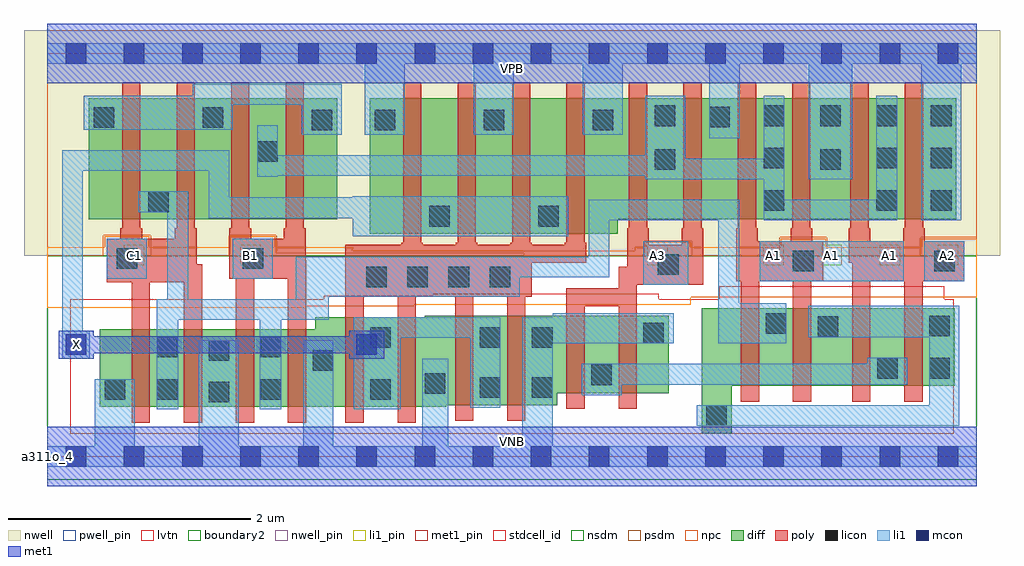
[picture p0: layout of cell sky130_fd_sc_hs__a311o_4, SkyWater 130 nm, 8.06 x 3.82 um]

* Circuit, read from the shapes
.subckt sky130_fd_sc_hs__a311o_4 A1 A2 A3 B1 C1 VGND VNB VPB VPWR X
XM1 n1 C1 VGND VNB sky130_fd_pr__nfet_01v8_lvt w=0.64 l=0.15 m=2
XM2 n1 B1 VGND VNB sky130_fd_pr__nfet_01v8_lvt w=0.64 l=0.15 m=2
XM3 X n1 VGND VNB sky130_fd_pr__nfet_01v8_lvt w=0.74 l=0.15 m=4
XM4 n2 A3 VGND VNB sky130_fd_pr__nfet_01v8_lvt w=0.64 l=0.15 m=2
XM5 n1 A1 n3 VNB sky130_fd_pr__nfet_01v8_lvt w=0.64 l=0.15 m=2
XM6 n2 A2 n3 VNB sky130_fd_pr__nfet_01v8_lvt w=0.64 l=0.15 m=2
XM7 n1 C1 n4 VPB sky130_fd_pr__pfet_01v8 w=1 l=0.15 m=2
XM8 n5 B1 n4 VPB sky130_fd_pr__pfet_01v8 w=1 l=0.15 m=2
XM9 X n1 VPWR VPB sky130_fd_pr__pfet_01v8 w=1.12 l=0.15 m=4
XM10 n5 A3 VPWR VPB sky130_fd_pr__pfet_01v8 w=1 l=0.15 m=2
XM11 n5 A1 VPWR VPB sky130_fd_pr__pfet_01v8 w=1 l=0.15 m=2
XM12 n5 A2 VPWR VPB sky130_fd_pr__pfet_01v8 w=1 l=0.15 m=2
.ends

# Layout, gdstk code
import gdstk
lib = gdstk.Library(unit=1e-6, precision=1e-09)
def R(c, l, rs):  # rectangles x0, y0, x1, y1
    for r in rs: c.add(gdstk.rectangle(r[:2], r[2:], *l))
def A(c, l, x, y, w, h, nx, ny, dx, dy):  # array of equal rectangles
    R(c, l, [(x+i*dx, y+j*dy, x+i*dx+w, y+j*dy+h) for i in range(nx) for j in range(ny)])
def P(c, l, *ps):  # polygons
    for p in ps: c.add(gdstk.Polygon(p, *l))
nwell_pin = (64, 16)
nwell = (64, 20)
diff = (65, 20)
poly = (66, 20)
licon = (66, 44)
li1_pin = (67, 16)
li1 = (67, 20)
mcon = (67, 44)
met1_pin = (68, 16)
met1 = (68, 20)
stdcell_id = (81, 4)
nsdm = (93, 44)
psdm = (94, 20)
npc = (95, 20)
pwell_pin = (122, 16)
lvtn = (125, 44)
boundary2 = (236, 0)

sky130_fd_sc_hs__a311o_4 = lib.new_cell('sky130_fd_sc_hs__a311o_4')
R(sky130_fd_sc_hs__a311o_4, nwell_pin, [(0,3.085,7.68,3.33)])
R(sky130_fd_sc_hs__a311o_4, nwell, [(-0.19,1.66,7.87,3.52)])
R(sky130_fd_sc_hs__a311o_4, diff, [(0.345,1.96,2.395,2.96)])
P(sky130_fd_sc_hs__a311o_4, diff, [(5.135,1.165),(3.12,1.165),(3.12,1.15),(2.215,1.15),(2.215,1.05),(0.435,1.05),(0.435,0.41),(3.295,0.41),(3.295,0.425),(4.215,0.425),(4.215,0.525),(5.135,0.525)],
  [(7.495,1.225),(5.405,1.225),(5.405,0.195),(5.655,0.195),(5.655,0.585),(7.495,0.585)],
  [(7.51,2.96),(2.665,2.96),(2.665,1.84),(4.715,1.84),(4.715,1.96),(7.51,1.96)])
P(sky130_fd_sc_hs__a311o_4, poly, [(1.28,1.59),(1.235,1.59),(1.235,1.885),(1.22,1.885),(1.22,3.09),(1.07,3.09),(1.07,1.885),(1.055,1.885),(1.055,1.8),(0.785,1.8),(0.785,1.885),(0.77,1.885),(0.77,3.09),(0.62,3.09),(0.62,1.885),(0.605,1.885),(0.605,1.8),(0.495,1.8),(0.495,1.44),(0.7,1.44),(0.7,0.28),(0.85,0.28),(0.85,1.44),(1.13,1.44),(1.13,0.28),(1.28,0.28)],
  [(2.14,1.62),(2.135,1.62),(2.135,1.885),(2.12,1.885),(2.12,3.09),(1.97,3.09),(1.97,1.885),(1.955,1.885),(1.955,1.8),(1.685,1.8),(1.685,1.885),(1.67,1.885),(1.67,3.09),(1.52,3.09),(1.52,1.885),(1.505,1.885),(1.505,1.47),(1.56,1.47),(1.56,0.28),(1.71,0.28),(1.71,1.47),(1.99,1.47),(1.99,0.28),(2.14,0.28)],
  [(4.455,1.765),(4.44,1.765),(4.44,3.09),(4.29,3.09),(4.29,1.765),(4.275,1.765),(4.275,1.75),(4.005,1.75),(4.005,1.765),(3.99,1.765),(3.99,3.09),(3.84,3.09),(3.84,1.765),(3.825,1.765),(3.825,1.75),(3.555,1.75),(3.555,1.765),(3.54,1.765),(3.54,3.09),(3.39,3.09),(3.39,1.765),(3.375,1.765),(3.375,1.75),(3.105,1.75),(3.105,1.765),(3.09,1.765),(3.09,3.09),(2.94,3.09),(2.94,1.765),(2.925,1.765),(2.925,1.75),(2.465,1.75),(2.465,0.28),(2.615,0.28),(2.615,1.32),(2.895,1.32),(2.895,0.28),(3.045,0.28),(3.045,1.32),(3.37,1.32),(3.37,0.295),(3.52,0.295),(3.52,1.32),(3.8,1.32),(3.8,0.295),(3.95,0.295),(3.95,1.32),(4.005,1.32),(4.005,1.6),(4.455,1.6)],
  [(5.42,1.885),(5.405,1.885),(5.405,3.09),(5.255,3.09),(5.255,1.885),(5.24,1.885),(5.24,1.75),(4.97,1.75),(4.97,1.885),(4.955,1.885),(4.955,3.09),(4.805,3.09),(4.805,1.885),(4.79,1.885),(4.79,1.57),(4.72,1.57),(4.72,1.39),(4.29,1.39),(4.29,0.395),(4.44,0.395),(4.44,1.24),(4.72,1.24),(4.72,0.395),(4.87,0.395),(4.87,1.42),(5.42,1.42)],
  [(7.575,1.78),(7.25,1.78),(7.25,1.885),(7.235,1.885),(7.235,3.09),(7.085,3.09),(7.085,1.885),(7.07,1.885),(7.07,1.78),(6.8,1.78),(6.8,1.885),(6.785,1.885),(6.785,3.09),(6.635,3.09),(6.635,1.885),(6.62,1.885),(6.62,1.6),(6.65,1.6),(6.65,0.455),(6.8,0.455),(6.8,1.45),(7.08,1.45),(7.08,0.455),(7.23,0.455),(7.23,1.45),(7.575,1.45)],
  [(6.41,1.78),(6.32,1.78),(6.32,1.885),(6.305,1.885),(6.305,3.09),(6.155,3.09),(6.155,1.885),(6.14,1.885),(6.14,1.78),(5.87,1.78),(5.87,1.885),(5.855,1.885),(5.855,3.09),(5.705,3.09),(5.705,1.885),(5.69,1.885),(5.69,1.45),(5.73,1.45),(5.73,0.455),(5.88,0.455),(5.88,1.45),(6.16,1.45),(6.16,0.455),(6.31,0.455),(6.31,1.45),(6.41,1.45)])
A(sky130_fd_sc_hs__a311o_4, licon, 2.635, 1.4, 0.17, 0.17, 4, 1, 0.34, 0)
A(sky130_fd_sc_hs__a311o_4, licon, 7.3, 2.03, 0.17, 0.17, 1, 3, 0, 0.35)
A(sky130_fd_sc_hs__a311o_4, licon, 2.705, 2.695, 0.17, 0.17, 3, 1, 0.9, 0)
A(sky130_fd_sc_hs__a311o_4, licon, 5.92, 2.73, 0.17, 0.17, 3, 1, 0.465, 0)
R(sky130_fd_sc_hs__a311o_4, licon, [(5.445,0.255,5.615,0.425), (1.335,0.45,1.505,0.62), (0.475,0.47,0.645,0.64), (0.905,0.47,1.075,0.64), (1.765,0.47,1.935,0.64), (2.67,0.47,2.84,0.64), (3.575,0.485,3.745,0.655), (4.005,0.485,4.175,0.655), (3.12,0.52,3.29,0.69), (4.495,0.59,4.665,0.76), (6.855,0.645,7.025,0.815), (7.285,0.645,7.455,0.815), (2.195,0.71,2.365,0.88), (1.335,0.79,1.505,0.96), (0.905,0.82,1.075,0.99), (1.765,0.82,1.935,0.99), (2.67,0.9,2.84,1.07), (3.575,0.9,3.745,1.07), (4.005,0.9,4.175,1.07), (4.925,0.935,5.095,1.105), (6.365,0.99,6.535,1.16), (7.285,0.995,7.455,1.165), (5.935,1.015,6.105,1.185), (5.045,1.5,5.215,1.67), (6.16,1.53,6.33,1.7), (7.325,1.53,7.495,1.7), (0.575,1.55,0.745,1.72), (1.615,1.55,1.785,1.72), (3.155,1.9,3.325,2.07), (4.055,1.9,4.225,2.07), (0.835,2.02,1.005,2.19), (5.92,2.03,6.09,2.2), (6.85,2.03,7.02,2.2), (5.02,2.37,5.19,2.54), (6.385,2.37,6.555,2.54), (5.92,2.38,6.09,2.55), (6.85,2.38,7.02,2.55), (1.735,2.435,1.905,2.605), (2.185,2.695,2.355,2.865), (0.385,2.715,0.555,2.885), (1.285,2.715,1.455,2.885), (5.47,2.72,5.64,2.89), (5.02,2.73,5.19,2.9)])
A(sky130_fd_sc_hs__a311o_4, li1_pin, 5.915, 1.58, 0.17, 0.17, 4, 1, 0.48, 0)
R(sky130_fd_sc_hs__a311o_4, li1_pin, [(0.635,1.58,0.805,1.75), (1.595,1.58,1.765,1.75), (4.955,1.58,5.125,1.75)])
R(sky130_fd_sc_hs__a311o_4, li1, [(4.925,1.42,5.295,1.78), (5.885,1.45,7.075,1.78), (7.245,1.45,7.575,1.78), (0.495,1.47,0.825,1.8), (1.535,1.47,1.865,1.8)])
P(sky130_fd_sc_hs__a311o_4, li1, [(7.22,1.95),(7.22,3.245),(6.65,3.245),(6.65,2.29),(6.29,2.29),(6.29,3.245),(5.72,3.245),(5.72,2.63),(5.47,2.63),(5.47,3.245),(4.755,3.245),(4.755,2.66),(4.425,2.66),(4.425,3.245),(3.855,3.245),(3.855,2.66),(3.525,2.66),(3.525,3.245),(2.955,3.245),(2.955,2.66),(2.625,2.66),(2.625,3.245),(0,3.245),(0,3.415),(7.68,3.415),(7.68,3.245),(7.55,3.245),(7.55,1.95)],
  [(3.925,0.085),(3.925,1.15),(4.175,1.15),(4.175,1.185),(5.175,1.185),(5.175,0.935),(4.175,0.935),(4.175,0.085),(7.68,0.085),(7.68,-0.085),(0,-0.085),(0,0.085),(0.395,0.085),(0.395,0.64),(0.725,0.64),(0.725,0.085),(1.255,0.085),(1.255,0.96),(1.585,0.96),(1.585,0.085),(2.115,0.085),(2.115,0.96),(2.365,0.96),(2.365,0.085),(3.1,0.085),(3.1,0.81),(3.315,0.81),(3.315,0.085)],
  [(1.505,2.53),(1.505,2.14),(2.525,2.14),(2.525,2.15),(4.305,2.15),(4.305,1.82),(2.525,1.82),(2.525,1.97),(1.335,1.97),(1.335,2.36),(0.295,2.36),(0.295,1.04),(0.355,1.04),(0.355,0.81),(0.125,0.81),(0.125,2.53)],
  [(1.755,1.13),(1.085,1.13),(1.085,0.39),(0.905,0.39),(0.905,1.3),(0.995,1.3),(0.995,2.02),(0.755,2.02),(0.755,2.19),(1.165,2.19),(1.165,1.3),(2.055,1.3),(2.055,1.65),(4.475,1.65),(4.475,2.12),(5.715,2.12),(5.715,1.265),(6.105,1.265),(6.105,0.935),(5.545,0.935),(5.545,1.95),(4.645,1.95),(4.645,1.48),(3.905,1.48),(3.905,1.32),(2.325,1.32),(2.325,1.13),(1.935,1.13),(1.935,0.39),(1.755,0.39)],
  [(2.535,0.39),(2.535,1.15),(3.745,1.15),(3.745,0.405),(3.495,0.405),(3.495,0.98),(2.92,0.98),(2.92,0.39)],
  [(1.205,2.98),(1.205,3.075),(2.435,3.075),(2.435,2.66),(2.105,2.66),(2.105,2.905),(1.535,2.905),(1.535,2.7),(0.305,2.7),(0.305,2.98)],
  [(4.94,2.29),(4.94,2.32),(1.905,2.32),(1.905,2.31),(1.735,2.31),(1.735,2.735),(1.905,2.735),(1.905,2.49),(4.94,2.49),(4.94,2.98),(5.27,2.98),(5.27,2.46),(5.92,2.46),(5.92,2.98),(6.09,2.98),(6.09,2.12),(6.85,2.12),(6.85,2.98),(7.02,2.98),(7.02,1.95),(5.92,1.95),(5.92,2.29)],
  [(6.775,0.765),(6.775,0.815),(7.105,0.815),(7.105,0.595),(4.745,0.595),(4.745,0.505),(4.415,0.505),(4.415,0.765)],
  [(7.285,0.425),(7.285,0.985),(6.285,0.985),(6.285,1.245),(7.535,1.245),(7.535,0.255),(5.365,0.255),(5.365,0.425)])
A(sky130_fd_sc_hs__a311o_4, mcon, 0.155, -0.085, 0.17, 0.17, 16, 2, 0.48, 3.33)
R(sky130_fd_sc_hs__a311o_4, mcon, [(0.155,0.84,0.325,1.01), (2.555,0.84,2.725,1.01)])
R(sky130_fd_sc_hs__a311o_4, met1_pin, [(0,0,7.68,0.245), (0.155,0.84,0.325,1.01), (0,3.085,7.68,3.33)])
R(sky130_fd_sc_hs__a311o_4, met1, [(0,-0.245,7.68,0.245), (0,3.085,7.68,3.575)])
P(sky130_fd_sc_hs__a311o_4, met1, [(2.495,0.81),(2.495,0.855),(0.385,0.855),(0.385,0.81),(0.095,0.81),(0.095,1.04),(0.385,1.04),(0.385,0.995),(2.495,0.995),(2.495,1.04),(2.785,1.04),(2.785,0.81)])
R(sky130_fd_sc_hs__a311o_4, stdcell_id, [(0,0,7.68,3.33)])
R(sky130_fd_sc_hs__a311o_4, nsdm, [(0,-0.19,7.68,1.66)])
P(sky130_fd_sc_hs__a311o_4, psdm, [(7.68,3.52),(0,3.52),(0,1.66),(0.465,1.66),(0.465,1.83),(0.855,1.83),(0.855,1.66),(1.505,1.66),(1.505,1.83),(1.895,1.83),(1.895,1.68),(3.935,1.68),(3.935,1.66),(4.935,1.66),(4.935,1.78),(5.325,1.78),(5.325,1.66),(6.05,1.66),(6.05,1.81),(6.44,1.81),(6.44,1.66),(7.215,1.66),(7.215,1.81),(7.68,1.81)])
P(sky130_fd_sc_hs__a311o_4, npc, [(7.68,1.8),(7.225,1.8),(7.225,1.73),(6.43,1.73),(6.43,1.8),(6.06,1.8),(6.06,1.73),(5.315,1.73),(5.315,1.77),(4.945,1.77),(4.945,1.73),(4.855,1.73),(4.855,1.7),(2.525,1.7),(2.525,1.73),(1.885,1.73),(1.885,1.82),(1.515,1.82),(1.515,1.73),(0.845,1.73),(0.845,1.82),(0.475,1.82),(0.475,1.73),(0,1.73),(0,1.23),(2.125,1.23),(2.125,1.24),(3.03,1.24),(3.03,1.255),(5.315,1.255),(5.315,1.315),(7.68,1.315)])
R(sky130_fd_sc_hs__a311o_4, pwell_pin, [(0,0,7.68,0.245)])
P(sky130_fd_sc_hs__a311o_4, lvtn, [(7.49,1.3),(7.41,1.3),(7.41,1.405),(5.55,1.405),(5.55,1.3),(5.05,1.3),(5.05,1.345),(3.19,1.345),(3.19,1.33),(2.285,1.33),(2.285,1.3),(0.19,1.3),(0.19,0.19),(7.49,0.19)])
R(sky130_fd_sc_hs__a311o_4, boundary2, [(0,0,7.68,3.33)])
sky130_fd_sc_hs__a311o_4.add(gdstk.Label('a311o_4', (0,0), layer=83, texttype=44))
sky130_fd_sc_hs__a311o_4.add(gdstk.Label('VNB', (3.84,0.123), layer=64, texttype=59))
sky130_fd_sc_hs__a311o_4.add(gdstk.Label('VPB', (3.84,3.208), layer=64, texttype=5))
sky130_fd_sc_hs__a311o_4.add(gdstk.Label('X', (0.24,0.925), layer=68, texttype=5))
sky130_fd_sc_hs__a311o_4.add(gdstk.Label('VPWR', (3.84,3.208), layer=68, texttype=5))
sky130_fd_sc_hs__a311o_4.add(gdstk.Label('VGND', (3.84,0.123), layer=68, texttype=5))
sky130_fd_sc_hs__a311o_4.add(gdstk.Label('C1', (0.72,1.665), layer=67, texttype=5))
sky130_fd_sc_hs__a311o_4.add(gdstk.Label('B1', (1.68,1.665), layer=67, texttype=5))
sky130_fd_sc_hs__a311o_4.add(gdstk.Label('A3', (5.04,1.665), layer=67, texttype=5))
sky130_fd_sc_hs__a311o_4.add(gdstk.Label('A2', (7.44,1.665), layer=67, texttype=5))
sky130_fd_sc_hs__a311o_4.add(gdstk.Label('A1', (6,1.665), layer=67, texttype=5))
sky130_fd_sc_hs__a311o_4.add(gdstk.Label('A1', (6.48,1.665), layer=67, texttype=5))
sky130_fd_sc_hs__a311o_4.add(gdstk.Label('A1', (6.96,1.665), layer=67, texttype=5))

lib.write_gds('sky130_fd_sc_hs__a311o_4.gds')
